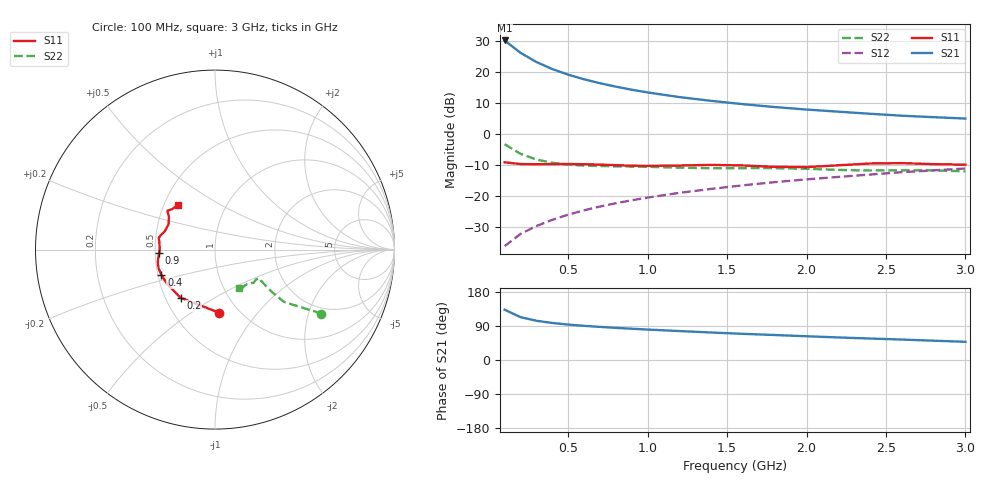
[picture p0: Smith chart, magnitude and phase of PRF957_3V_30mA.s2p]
! Philips part #:  PRF957  Date:  Nov 1998
! Bias condition:  Vce=3V, Ic=30mA
#  MHz  S  MA  R 50
! Freq  S11  S21  S12  S22
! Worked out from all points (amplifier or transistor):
!   20 points, 100 MHz to 3 GHz, reference 50 ohm
!   highest |S21| = 30.3 dB at 100 MHz (marker M1)
!   |S21| within 3 dB of that: start of sweep to 175.2 MHz
!   unconditionally stable (mu >= 1): 567.7 MHz to end of sweep
!   at 400 MHz: K = 0.95, MSG = 24.4 dB, |S12| = -27.6 dB
!   at 1.2 GHz: K = 1.05, MAG = 14.1 dB, |S12| = -18.9 dB
!   at 3 GHz: K = 1.03, MAG = 7.0 dB, |S12| = -11.1 dB
!   S11 on the Smith chart (normalised r, x): 100 MHz: 0.81, -0.65; 200 MHz: 0.60, -0.36; 400 MHz: 0.52, -0.17; 900 MHz: 0.53, -0.02; 3 GHz: 0.59, +0.32
100  0.3524 -86.2  32.8 132.7  0.01556 69.1  0.6921 -31.0
200  0.3301 -125.6  20.73 113.1  0.02454 68.5  0.4831 -37.2
300  0.3281 -144.3  14.71 103.6  0.0329 70.9  0.391 -36.6
400  0.3304 -154.6  11.32 97.7  0.04149 73.1  0.3465 -35.5
500  0.3309 -161.1  9.192 93.5  0.0503 74.7  0.3237 -34.6
600  0.3288 -165.6  7.741 90.2  0.05911 75.8  0.3121 -34.2
700  0.3235 -169.4  6.682 87.3  0.06804 76.4  0.3067 -33.8
800  0.3168 -173.1  5.882 84.8  0.07687 76.9  0.3037 -33.4
900  0.311 -177.0  5.248 82.5  0.08587 77.3  0.3009 -33.1
1000  0.3081 178.9  4.744 80.3  0.09493 77.4  0.2979 -32.9
1200  0.313 172.1  3.991 76.4  0.1132 77.3  0.2886 -33.8
1400  0.3203 168.2  3.469 72.6  0.131 76.8  0.2827 -36.5
1600  0.3135 165.3  3.065 69.0  0.1497 76.4  0.2834 -39.2
1800  0.2974 159.9  2.754 65.9  0.1686 75.6  0.2837 -40.8
2000  0.2947 151.4  2.51 62.7  0.1868 75.0  0.2771 -42.2
2200  0.3153 144.4  2.319 59.5  0.2045 74.2  0.2658 -45.2
2400  0.3376 141.7  2.145 56.7  0.2235 73.2  0.2598 -49.7
2600  0.3419 140.4  1.995 53.9  0.2442 72.0  0.2611 -53.7
2800  0.3293 137.1  1.89 50.9  0.2612 71.3  0.2605 -56.1
3000  0.323 130.1  1.794 48.0  0.2798 70.6  0.2522 -58.4
